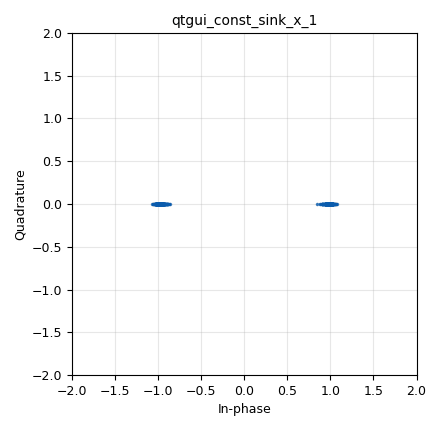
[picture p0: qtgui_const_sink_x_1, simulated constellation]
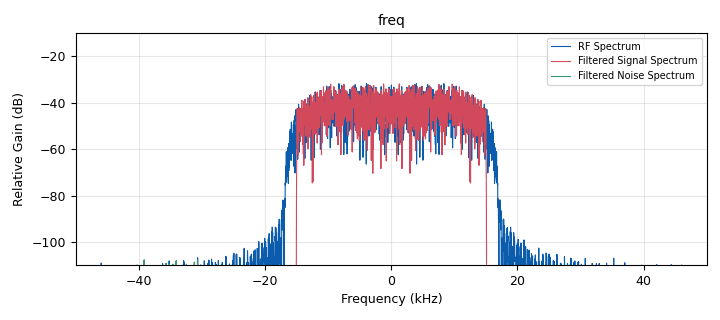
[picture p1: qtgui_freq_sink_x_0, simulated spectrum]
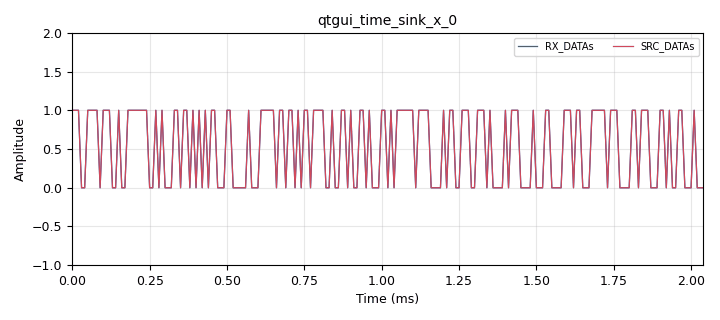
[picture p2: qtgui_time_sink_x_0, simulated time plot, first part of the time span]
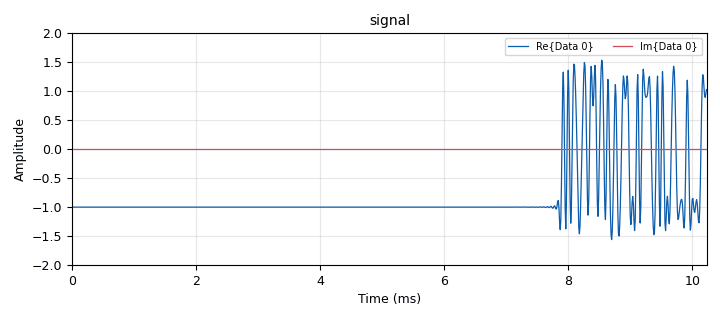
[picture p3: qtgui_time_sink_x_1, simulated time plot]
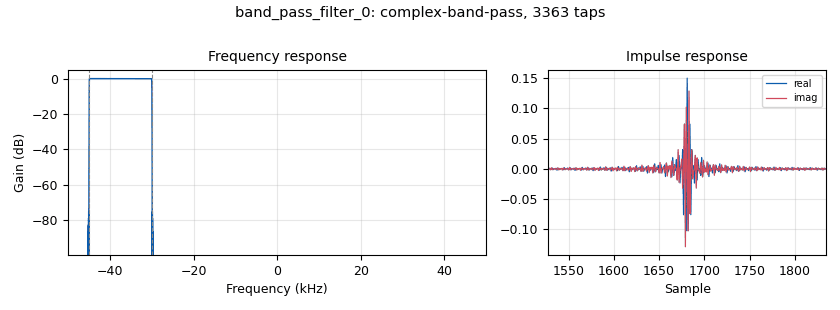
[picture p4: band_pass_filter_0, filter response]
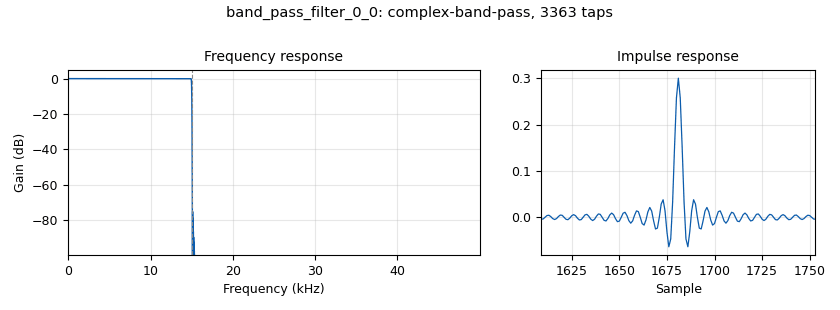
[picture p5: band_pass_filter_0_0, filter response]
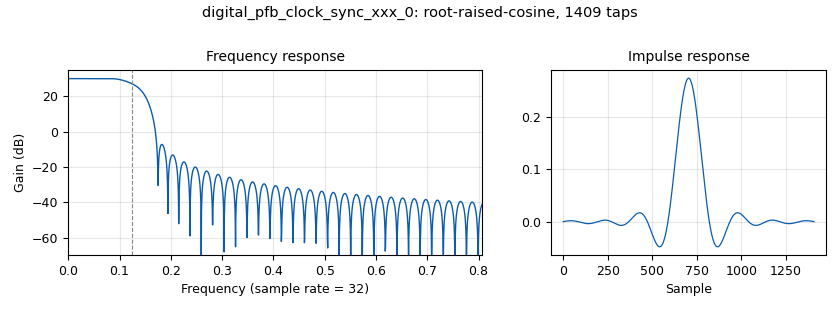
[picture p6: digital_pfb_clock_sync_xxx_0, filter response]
options:
  parameters:
    author: Tom Rondeau
    category: Custom
    description: Explore Soft Decoding of constellations. Selec the constellation from the available objects.
    generate_options: qt_gui
    id: ask_bpsk_qpsk_qam16_v4
    output_language: python
    title: ask_bpsk_qpsk_qam16_v4
  states: {}

blocks:
- name: arity
  id: variable
  parameters:
    value: '4'
  states: {}
- name: cf
  id: variable
  parameters:
    value: '0'
  states: {}
- name: constel
  id: variable
  parameters:
    value: constel_bpsk
  states: {}
- name: constel_ask
  id: variable_constellation
  parameters:
    const_points: (0,1)
    dims: '1'
    normalization: digital.constellation.AMPLITUDE_NORMALIZATION
    precision: '8'
    rot_sym: '4'
    soft_dec_lut: '''auto'''
    sym_map: (0,1)
    type: calcdist
  states: {}
- name: constel_bpsk
  id: variable_constellation
  parameters:
    const_points: digital.psk_2()[0]
    dims: '1'
    normalization: digital.constellation.AMPLITUDE_NORMALIZATION
    precision: '8'
    rot_sym: '4'
    soft_dec_lut: '''auto'''
    sym_map: digital.psk_2()[1]
    type: calcdist
  states: {}
- name: constel_qam16
  id: variable_constellation
  parameters:
    const_points: digital.qam_16()[0]
    dims: '1'
    normalization: digital.constellation.AMPLITUDE_NORMALIZATION
    precision: '8'
    rot_sym: '4'
    soft_dec_lut: '''auto'''
    sym_map: digital.qam_16()[1]
    type: calcdist
  states: {}
- name: constel_qpsk
  id: variable_constellation
  parameters:
    const_points: digital.psk_4()[0]
    dims: '1'
    normalization: digital.constellation.AMPLITUDE_NORMALIZATION
    precision: '8'
    rot_sym: '4'
    soft_dec_lut: '''auto'''
    sym_map: digital.psk_4()[1]
    type: calcdist
  states: {}
- name: delay
  id: variable_qtgui_chooser
  parameters:
    gui_hint: 0,2,1,2
    label: Delay
    label0: BPSK
    label1: QPSK
    label2: QAM16
    label3: ASK
    num_opts: '4'
    option0: '29'
    option1: '58'
    option2: '116'
    option3: '29'
    type: int
    value: '29'
  states: {}
- name: gap_num
  id: variable
  parameters:
    value: '32'
  states: {}
- name: intSize
  id: variable
  parameters:
    value: '250000'
  states: {}
- name: nfilts
  id: variable
  parameters:
    value: '32'
  states: {}
- name: noisePowerLabel
  id: variable_qtgui_label
  parameters:
    gui_hint: 2,1
    label: 'Noise Power (dBfs): '
    type: real
    value: variable_function_probe_noise
  states: {}
- name: noise_volt
  id: variable_qtgui_range
  parameters:
    gui_hint: 0,0,1,2
    label: 'Channel: Noise Voltage'
    start: '0'
    step: '0.01'
    stop: '1'
    value: '0.0001'
  states: {}
- name: preamble
  id: variable
  parameters:
    comment: '[0xac, 0xdd, 0xa4, 0xe2, 0xf2, 0x8c, 0x20, 0xfc]'
    value: '[0xac, 0xdd, 0xa4, 0xe2, 0xf2, 0x8c, 0x20, 0xfc]'
  states: {}
- name: random_data_num
  id: variable
  parameters:
    value: '200'
  states: {}
- name: rrc_taps
  id: variable
  parameters:
    value: firdes.root_raised_cosine(nfilts, nfilts, 1.0/float(sps), 0.35, 11*sps*nfilts)
  states: {}
- name: samp_rate
  id: variable
  parameters:
    value: '100000'
  states: {}
- name: signalPowerLabel
  id: variable_qtgui_label
  parameters:
    comment: |-
      此块创建一个带有文本标签小部件的变量。
      将标签留空以使用变量 id 作为标签。
    gui_hint: 2,0
    label: 'Signal Power (dBfs): '
    type: real
    value: variable_function_probe_signal
  states: {}
- name: snr
  id: variable_qtgui_label
  parameters:
    gui_hint: 2,2
    label: 'SNR (dB): '
    type: real
    value: variable_function_probe_snr
  states: {}
- name: snr_0
  id: variable_qtgui_label
  parameters:
    gui_hint: 2,3
    label: 'Eb/N0 (dB): '
    type: real
    value: variable_function_probe_EbN0
  states: {}
- name: sps
  id: variable
  parameters:
    value: '4'
  states: {}
- name: variable_function_probe_EbN0
  id: variable_function_probe
  parameters:
    block_id: probeSignalEbN0
    function_name: level
    poll_rate: '10'
    value: '0'
  states: {}
- name: variable_function_probe_noise
  id: variable_function_probe
  parameters:
    block_id: probeSignalPowerNoise
    function_name: level
    poll_rate: '10'
    value: '0'
  states: {}
- name: variable_function_probe_signal
  id: variable_function_probe
  parameters:
    block_id: probeSignalPower
    function_name: level
    poll_rate: '10'
    value: '0'
  states: {}
- name: variable_function_probe_snr
  id: variable_function_probe
  parameters:
    block_id: probeSignalSNR
    function_name: level
    poll_rate: '10'
    value: '0'
  states: {}
- name: analog_random_source_x_0
  id: analog_random_source_x
  parameters:
    max: '256'
    min: '0'
    num_samps: random_data_num
    repeat: 'True'
    type: byte
  states: {}
- name: band_pass_filter_0
  id: band_pass_filter
  parameters:
    comment: |-
      Filter the noise to
      measure it.(中心频率-45k到-30k)
    decim: '1'
    gain: '1'
    high_cutoff_freq: '-30e3'
    low_cutoff_freq: '-45e3'
    samp_rate: samp_rate
    type: fir_filter_ccc
    width: '100'
    win: window.WIN_BLACKMAN
  states: {}
- name: band_pass_filter_0_0
  id: band_pass_filter
  parameters:
    comment: |-
      Filter the noise to
      measure it.(中心频率-15k到15k)
    decim: '1'
    gain: '1'
    high_cutoff_freq: 15e3
    low_cutoff_freq: '-15e3'
    samp_rate: samp_rate
    type: fir_filter_ccc
    width: '100'
    win: window.WIN_BLACKMAN
  states: {}
- name: blocks_add_const_vxx_0
  id: blocks_add_const_vxx
  parameters:
    const: 10*math.log10(15000/(samp_rate/sps*constel.bits_per_symbol()))
    type: float
  states: {}
- name: blocks_char_to_float_0
  id: blocks_char_to_float
  parameters:
    scale: '1'
  states: {}
- name: blocks_char_to_float_0_0_0
  id: blocks_char_to_float
  parameters:
    scale: '1'
  states: {}
- name: blocks_complex_to_mag_squared_0
  id: blocks_complex_to_mag_squared
  parameters:
    comment: Calculate the signal+noise power.
  states: {}
- name: blocks_complex_to_mag_squared_0_0
  id: blocks_complex_to_mag_squared
  parameters:
    comment: Calculate the noise power.
  states: {}
- name: blocks_delay_0
  id: blocks_delay
  parameters:
    delay: int(delay)
    type: byte
  states: {}
- name: blocks_divide_xx_0
  id: blocks_divide_xx
  parameters:
    type: float
  states: {}
- name: blocks_moving_average_xx_0
  id: blocks_moving_average_xx
  parameters:
    comment: |-
      Average the signal
      power.
    length: intSize
    max_iter: intSize
    scale: 1/intSize
    type: float
  states: {}
- name: blocks_moving_average_xx_0_0
  id: blocks_moving_average_xx
  parameters:
    comment: |-
      Average the noise
      power.
    length: intSize
    max_iter: intSize
    scale: 1/intSize
    type: float
  states: {}
- name: blocks_moving_average_xx_1
  id: blocks_moving_average_xx
  parameters:
    length: samp_rate
    max_iter: '4000'
    scale: 1/samp_rate
    type: float
  states: {}
- name: blocks_moving_average_xx_1_0
  id: blocks_moving_average_xx
  parameters:
    length: samp_rate
    max_iter: '4000'
    scale: 1/samp_rate
    type: float
  states: {}
- name: blocks_multiply_const_vxx_0
  id: blocks_multiply_const_vxx
  parameters:
    const: 1/(random_data_num*8)*100
    type: float
  states: {}
- name: blocks_multiply_const_vxx_0_0
  id: blocks_multiply_const_vxx
  parameters:
    comment: |-
      - BPSK\QPSK，其功率（模的平方）无论哪种码元（-1,1）（，，，，）都是 1
      - ASK，假设 0/1 比较均匀出现，意味着平均功率需要乘以 2
      - 16QAM，假设 16 个星座均匀出现，意味着平均功率需要乘以 10

      0.43
    const: '1'
    type: float
  states: {}
- name: blocks_multiply_const_vxx_0_0_0
  id: blocks_multiply_const_vxx
  parameters:
    const: '2'
    type: float
  states: {}
- name: blocks_nlog10_ff_0
  id: blocks_nlog10_ff
  parameters:
    comment: |-
      Convert the signal power 
      to logarithmic (decibel)
      scale.

      output = n*log10(input) + k
      功率为：
          Z² = 复数的模的平方
          power = 10lg(Z²)
    k: '0'
    n: '10'
  states: {}
- name: blocks_nlog10_ff_0_0
  id: blocks_nlog10_ff
  parameters:
    comment: |-
      Convert the noise power 
      to logarithmic (decibel)
      scale.
    k: '0'
    n: '10'
  states: {}
- name: blocks_nlog10_ff_0_1
  id: blocks_nlog10_ff
  parameters:
    k: '0'
    n: '10'
  states: {}
- name: blocks_null_source_0_0
  id: blocks_null_source
  parameters:
    type: byte
  states: {}
- name: blocks_stream_mux_0_0
  id: blocks_stream_mux
  parameters:
    comment: 流混合：len=(len(preamble), random_data_num, gap_num)
    lengths: (len(preamble), random_data_num, gap_num)
    num_inputs: '3'
    type: byte
  states: {}
- name: blocks_sub_xx_0
  id: blocks_sub_xx
  parameters:
    comment: get signal power
    type: float
  states: {}
- name: blocks_throttle_0
  id: blocks_throttle
  parameters:
    samples_per_second: samp_rate
    type: byte
  states: {}
- name: blocks_unpack_k_bits_bb_0
  id: blocks_unpack_k_bits_bb
  parameters:
    k: constel.bits_per_symbol()
  states: {}
- name: blocks_unpack_k_bits_bb_0_0
  id: blocks_unpack_k_bits_bb
  parameters:
    k: '8'
  states: {}
- name: blocks_vector_source_x_0
  id: blocks_vector_source_x
  parameters:
    repeat: 'True'
    type: byte
    vector: preamble
  states: {}
- name: channels_channel_model_0
  id: channels_channel_model
  parameters:
    epsilon: '1.0'
    freq_offset: '0.0'
    noise_voltage: noise_volt
    seed: '0'
    taps: '1.0'
  states: {}
- name: digital_constellation_decoder_cb_0
  id: digital_constellation_decoder_cb
  parameters:
    constellation: constel
  states: {}
- name: digital_constellation_modulator_0
  id: digital_constellation_modulator
  parameters:
    constellation: constel
    differential: 'False'
    excess_bw: '0.35'
    samples_per_symbol: sps
  states: {}
- name: digital_map_bb_0_0
  id: digital_map_bb
  parameters:
    map: constel.pre_diff_code()
  states: {}
- name: digital_pfb_clock_sync_xxx_0
  id: digital_pfb_clock_sync_xxx
  parameters:
    filter_size: nfilts
    init_phase: nfilts/2
    loop_bw: 6.28/100.0
    max_dev: '1.5'
    osps: '1'
    sps: sps
    taps: rrc_taps
    type: ccf
  states: {}
- name: epy_block_0
  id: epy_block
  parameters:
    _source_code: |
      """
      Embedded Python Blocks:

      Each time this file is saved, GRC will instantiate the first class it finds
      to get ports and parameters of your block. The arguments to __init__  will
      be the parameters. All of them are required to have default values!
      """

      import numpy as np
      from gnuradio import gr
      import struct


      class blk(gr.sync_block):  # other base classes are basic_block, decim_block, interp_block
          """Embedded Python Block example - a simple multiply const"""

          def __init__(self, preamble=[], random_data_num = 0, gap_num = 0, risks = 0.3, debug = False):  # only default arguments here
              """arguments to this function show up as parameters in GRC"""
              gr.sync_block.__init__(
                  self,
                  name='Embedded Python Block',   # will show up in GRC
                  in_sig=[np.int8,np.int8],
                  out_sig=[np.int8,np.int8,np.float32]
              )
              # if an attribute with the same name as a parameter is found,
              # a callback is registered (properties work, too).
              self.preamble = preamble
              self.preamble_bits = []
              self.preamble_bits_num = 0
              self.random_data_num = random_data_num
              self.gap_num = gap_num
              self.total_num = 0
              self.total_error_num = 0
              self.datas_0 = []
              self.datas_1 = []
              self.datas_one_frame_num = (len(preamble)+random_data_num+gap_num)*8
              self.debug = debug
              self.risks = risks # 比较头部信息时，出错容忍度(头部需要容错率，不然在有干扰时，头部都无法准确定位了）
              
              for byte in self.preamble:
                  for i in range(7, -1, -1):
                      bit = (byte >> i) & 1
                      self.preamble_bits.append(float(bit))
              self.preamble_bits_num = len(self.preamble_bits)
                    

          def find_preamble(self, datas):
              # find preamble
              total_num = len(datas)
              for i in range(total_num - self.preamble_bits_num + 1):
                  ok = 1
                  error_num = 0
                  for j in range(self.preamble_bits_num):
                      if datas[i+j] != self.preamble_bits[j]:
                          error_num = error_num + 1
                          if error_num >=  self.preamble_bits_num*self.risks:
                              ok = 0
                              break
                  
                  if ok == 1:
                      return i
              return -1
                      
          def cal_error(self,error_array):
              total0_num = len(self.datas_0)
              total1_num = len(self.datas_1)
              
              # find preamble
              index_0 = self.find_preamble(self.datas_0)
              index_1 = self.find_preamble(self.datas_1)
              
              # print(index_0,index_1,'\n')
                      
              # have at least one frame
              if index_0 != -1 and index_1 != -1:
                  if index_0 + self.datas_one_frame_num <= total0_num and index_1 + self.datas_one_frame_num <= total1_num:
                      error_num = 0
                      for i in range(self.random_data_num*8):
                          if self.datas_0[index_0+self.preamble_bits_num+i] != self.datas_1[index_1+self.preamble_bits_num+i]:
                              error_num = error_num + 1
                      
                      if self.debug == True:
                          print('[%d/%d][%d/%d] error/rand_datas = %d/%d (bits)' %(index_0, total0_num, index_1, total1_num, error_num,self.random_data_num*8))
                      error_array.append(error_num)
                      
                      # cut the one frame
                      self.datas_0 = self.datas_0[index_0+self.datas_one_frame_num:]
                      self.datas_1 = self.datas_1[index_1+self.datas_one_frame_num:]
                      
                      self.cal_error(error_array)
                  
          def work(self, input_items, output_items):
              """example: multiply with constant"""
              output_items[0][:] = input_items[0]
              output_items[1][:] = input_items[1]
              
              # buffer the input datas
              self.datas_0 = np.append(self.datas_0,input_items[0])
              self.datas_1 = np.append(self.datas_1,input_items[1])
              
              error_array = []
              error_average = 0
              self.cal_error(error_array)
              if len(error_array) != 0:
                  error_average = int(sum(error_array) / len(error_array))
                  if self.debug == True:
                      print(error_array ,'->', error_average)
              
              for i in range(len(input_items[0])):
                  output_items[2][i] = error_average
              
              return len(output_items[0])
    debug: 'False'
    gap_num: gap_num
    preamble: preamble
    random_data_num: random_data_num
    risks: '0.3'
  states: {}
- name: error_bits
  id: qtgui_number_sink
  parameters:
    color1: ("blue", "red")
    graph_type: qtgui.NUM_GRAPH_VERT
    gui_hint: 3,2,1,1
    max: random_data_num*8
    min: '0'
    name: '"error_bits"'
    type: float
    update_time: '0.01'
  states: {}
- name: error_rate_show
  id: qtgui_number_sink
  parameters:
    color1: ("blue", "red")
    graph_type: qtgui.NUM_GRAPH_VERT
    gui_hint: 3,3,1,1
    max: '100'
    min: '0'
    name: '"error rate"'
    type: float
    update_time: '0.01'
  states: {}
- name: import_cmath
  id: import
  parameters:
    imports: import cmath
  states: {}
- name: import_math
  id: import
  parameters:
    imports: import math
  states: {}
- name: note_0
  id: note
  parameters:
    comment: |-
      1) EbN0 = 10log10(Eb/N0)
         Eb/N0 = 10**(EbN0/10)
      2) SNR = CNR = C/N = Eb/N0*f0/B = 10**(EbN0/10) * f0/B
       - f0 净比特率（Rb)
       - B 是通道带宽
      3) BER = P(e)
      BPSK:	P(e) = 1/2*erfc(sqrt(Eb/N0))     B=Rb      f0=Rb=Rs
      QPSK: 	P(e) = 1/2*erfc(sqrt(Eb/N0))     B=Rb/2    f0=Rb=2Rs 
      16QAM： P(e) = 2*erfc(sqrt(0.4*Eb/N0))    B=Rb/4   f0=Rb=4Rs
      OOK：   P(e) = 1/2*erfc(sqrt(0.5*Eb/N0))     B=Rb      f0=Rb=Rs
    note: 相关公式
  states: {}
- name: note_1
  id: note
  parameters:
    comment: |-
      1）改变 constel 变量为某种调制
      2）改变 QT GUI Chooser - delay 的默认值为对应调制的值
      3）改变 Embedded Python Block 的 kind 为对应调制（"ask","bpsk","qpsk","16qam")
    note: 如何体验
  states: {}
- name: note_2
  id: note
  parameters:
    comment: |-
      采样率 (Sampling Rate)  ：100Khz 每秒 100K 个采样点
      符号率 (Symbol Rate) ：每秒传输的符号数，Rs = 采样率/sps = 100/4khz
      比特率 (Bit Rate)：指每秒传输的二进制位（Bit）数，QPSK 每个符号包含 2 个 bits，Rb = 2*Rs
  states: {}
- name: note_auto
  id: note
  parameters:
    note: auto-build LUT
  states: {}
- name: probeSignalEbN0
  id: blocks_probe_signal_x
  parameters:
    comment: |-
      Eb/N0(db) = SNRdb + 10lg(B) - 10lg(Rb)

      - B (等效噪声带宽)：在实验中，这就是带通滤波器的宽度 4KHz
      - Rb (净比特率 - Net Bit Rate)：指每秒传输的有效二进制位数。
          - Rb = Rs*log2(M)  
              - M 是调制阶数（QPSK=4）
              - Rs 是符号率

      SNR（信噪比） 是针对特定测量带宽的感官指标
      而 Eb/N0（每比特能量与噪声功率谱密度之比） 则是衡量调制方式效率的“金标准”

      当结果为负数时，代表 Eb<N0，也就是说，为了传输 1 bit 数据所投入的能量，还不如 1 Hz 带宽内的噪声功率大。
    type: float
  states: {}
- name: probeSignalPower
  id: blocks_probe_signal_x
  parameters:
    comment: 信号功率：P(s)
    type: float
  states: {}
- name: probeSignalPowerNoise
  id: blocks_probe_signal_x
  parameters:
    comment: 噪声功率：P(n)
    type: float
  states: {}
- name: probeSignalSNR
  id: blocks_probe_signal_x
  parameters:
    comment: |-
      SNR = 10lg(Vs / Vn) = 10lg(Vs)-10lg(Vn)  = P(s) - P(n)
      GnuRadio 中的模拟信道中的噪声是用电压幅值表示的，
      Vs,Vn 分别为信号和噪声的电压均方值(功率)

      https://blog.csdn.net/fengshao1370/article/details/106059388
    type: float
  states: {}
- name: qtgui_const_sink_x_1
  id: qtgui_const_sink_x
  parameters:
    gui_hint: 1,0,1,2
    name: ''
    size: '1024'
    type: complex
  states: {}
- name: qtgui_freq_sink_x_0
  id: qtgui_freq_sink_x
  parameters:
    bw: samp_rate
    color1: '"black"'
    color2: '"green"'
    color3: '"red"'
    fc: cf
    fftsize: '8192'
    grid: 'True'
    gui_hint: qtgui_tab_widget@0
    label1: 'RF Spectrum '
    label2: Filtered Signal Spectrum
    label3: Filtered Noise Spectrum
    name: '"freq"'
    nconnections: '3'
    type: complex
    ymax: '-10'
    ymin: '-110'
  states: {}
- name: qtgui_tab_widget
  id: qtgui_tab_widget
  parameters:
    gui_hint: 3,0,1,2
    label0: '"freq"'
    label1: '"time"'
    num_tabs: '2'
  states: {}
- name: qtgui_time_sink_x_0
  id: qtgui_time_sink_x
  parameters:
    gui_hint: 1,2,1,2
    label1: RX_DATAs
    label2: SRC_DATAs
    name: ''
    nconnections: '2'
    size: '10000'
    srate: samp_rate
    type: float
    update_time: '0.05'
    ymax: '2'
  states: {}
- name: qtgui_time_sink_x_1
  id: qtgui_time_sink_x
  parameters:
    gui_hint: qtgui_tab_widget@1
    name: '"signal"'
    size: '1024'
    srate: samp_rate
    type: complex
    ymax: '2'
    ymin: '-2'
  states: {}
- name: virtual_sink_0
  id: virtual_sink
  parameters:
    stream_id: src_sink
  states: {}
- name: virtual_sink_1
  id: virtual_sink
  parameters:
    stream_id: rx_signal
  states: {}
- name: virtual_source_0
  id: virtual_source
  parameters:
    stream_id: src_sink
  states: {}
- name: virtual_source_1_0
  id: virtual_source
  parameters:
    stream_id: rx_signal
  states: {}

connections:
- [analog_random_source_x_0, '0', blocks_stream_mux_0_0, '1']
- [band_pass_filter_0, '0', blocks_complex_to_mag_squared_0_0, '0']
- [band_pass_filter_0, '0', qtgui_freq_sink_x_0, '2']
- [band_pass_filter_0_0, '0', blocks_complex_to_mag_squared_0, '0']
- [band_pass_filter_0_0, '0', qtgui_freq_sink_x_0, '1']
- [blocks_add_const_vxx_0, '0', probeSignalEbN0, '0']
- [blocks_char_to_float_0, '0', qtgui_time_sink_x_0, '0']
- [blocks_char_to_float_0_0_0, '0', qtgui_time_sink_x_0, '1']
- [blocks_complex_to_mag_squared_0, '0', blocks_moving_average_xx_0, '0']
- [blocks_complex_to_mag_squared_0_0, '0', blocks_moving_average_xx_0_0, '0']
- [blocks_delay_0, '0', epy_block_0, '1']
- [blocks_divide_xx_0, '0', blocks_multiply_const_vxx_0_0, '0']
- [blocks_moving_average_xx_0, '0', blocks_sub_xx_0, '0']
- [blocks_moving_average_xx_0_0, '0', blocks_divide_xx_0, '1']
- [blocks_moving_average_xx_0_0, '0', blocks_multiply_const_vxx_0_0_0, '0']
- [blocks_moving_average_xx_0_0, '0', blocks_nlog10_ff_0_0, '0']
- [blocks_moving_average_xx_1, '0', error_rate_show, '0']
- [blocks_moving_average_xx_1_0, '0', error_bits, '0']
- [blocks_multiply_const_vxx_0, '0', blocks_moving_average_xx_1, '0']
- [blocks_multiply_const_vxx_0_0, '0', blocks_nlog10_ff_0_1, '0']
- [blocks_multiply_const_vxx_0_0_0, '0', blocks_sub_xx_0, '1']
- [blocks_nlog10_ff_0, '0', probeSignalPower, '0']
- [blocks_nlog10_ff_0_0, '0', probeSignalPowerNoise, '0']
- [blocks_nlog10_ff_0_1, '0', blocks_add_const_vxx_0, '0']
- [blocks_nlog10_ff_0_1, '0', probeSignalSNR, '0']
- [blocks_null_source_0_0, '0', blocks_stream_mux_0_0, '2']
- [blocks_stream_mux_0_0, '0', blocks_throttle_0, '0']
- [blocks_sub_xx_0, '0', blocks_divide_xx_0, '0']
- [blocks_sub_xx_0, '0', blocks_nlog10_ff_0, '0']
- [blocks_throttle_0, '0', virtual_sink_0, '0']
- [blocks_unpack_k_bits_bb_0, '0', epy_block_0, '0']
- [blocks_unpack_k_bits_bb_0_0, '0', blocks_delay_0, '0']
- [blocks_vector_source_x_0, '0', blocks_stream_mux_0_0, '0']
- [channels_channel_model_0, '0', digital_pfb_clock_sync_xxx_0, '0']
- [channels_channel_model_0, '0', virtual_sink_1, '0']
- [digital_constellation_decoder_cb_0, '0', digital_map_bb_0_0, '0']
- [digital_constellation_modulator_0, '0', channels_channel_model_0, '0']
- [digital_constellation_modulator_0, '0', qtgui_time_sink_x_1, '0']
- [digital_map_bb_0_0, '0', blocks_unpack_k_bits_bb_0, '0']
- [digital_pfb_clock_sync_xxx_0, '0', digital_constellation_decoder_cb_0, '0']
- [digital_pfb_clock_sync_xxx_0, '0', qtgui_const_sink_x_1, '0']
- [epy_block_0, '0', blocks_char_to_float_0, '0']
- [epy_block_0, '1', blocks_char_to_float_0_0_0, '0']
- [epy_block_0, '2', blocks_moving_average_xx_1_0, '0']
- [epy_block_0, '2', blocks_multiply_const_vxx_0, '0']
- [virtual_source_0, '0', blocks_unpack_k_bits_bb_0_0, '0']
- [virtual_source_0, '0', digital_constellation_modulator_0, '0']
- [virtual_source_1_0, '0', band_pass_filter_0, '0']
- [virtual_source_1_0, '0', band_pass_filter_0_0, '0']
- [virtual_source_1_0, '0', qtgui_freq_sink_x_0, '0']

metadata:
  file_format: 1
  grc_version: 3.10.12.0
